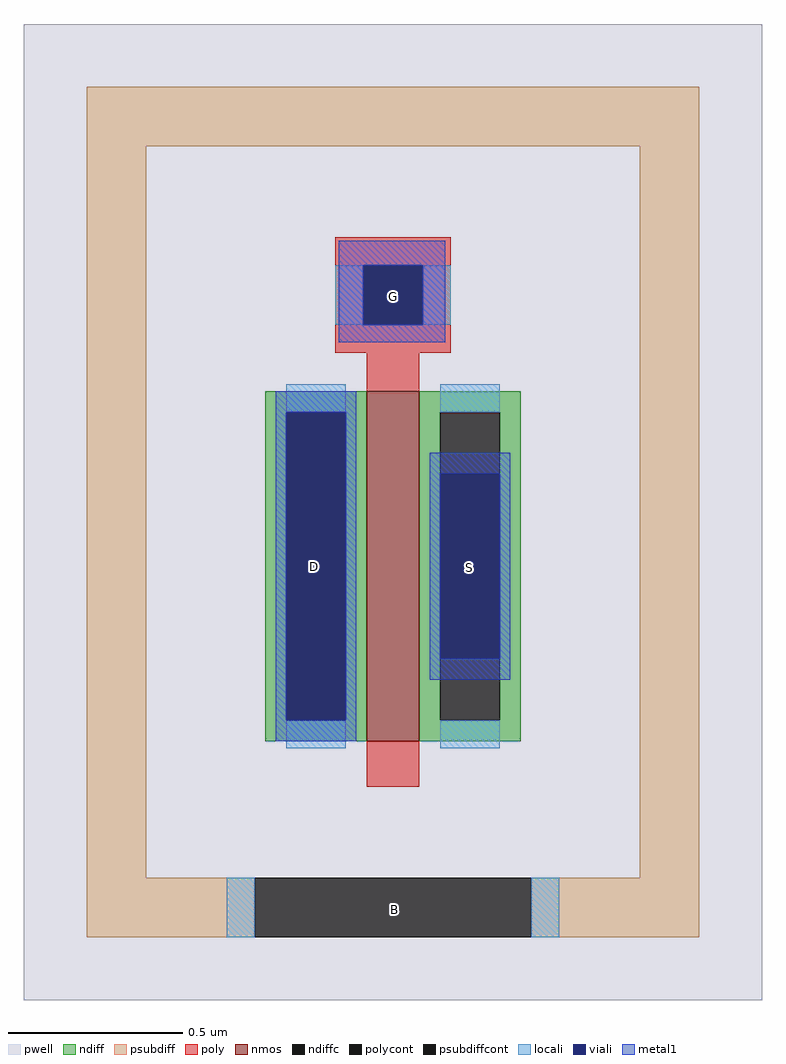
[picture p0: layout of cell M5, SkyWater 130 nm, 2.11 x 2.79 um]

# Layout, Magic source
magic
tech sky130B
magscale 1 2
<< pwell >>
rect -211 -279 211 279
<< nmos >>
rect -15 -131 15 69
<< ndiff >>
rect -73 57 -15 69
rect -73 -119 -61 57
rect -27 -119 -15 57
rect -73 -131 -15 -119
rect 15 57 73 69
rect 15 -119 27 57
rect 61 -119 73 57
rect 15 -131 73 -119
<< ndiffc >>
rect -61 -119 -27 57
rect 27 -119 61 57
<< psubdiff >>
rect -175 209 175 243
rect -175 -209 -141 209
rect 141 -209 175 209
rect -175 -243 -79 -209
rect 79 -243 175 -209
<< psubdiffcont >>
rect -79 -243 79 -209
<< poly >>
rect -33 141 33 157
rect -33 107 -17 141
rect 17 107 33 141
rect -33 91 33 107
rect -15 69 15 91
rect -15 -157 15 -131
<< polycont >>
rect -17 107 17 141
<< locali >>
rect -33 107 -17 141
rect 17 107 33 141
rect -61 57 -27 73
rect -61 -135 -27 -119
rect 27 57 61 73
rect 27 -135 61 -119
rect -95 -243 -79 -209
rect 79 -243 95 -209
<< viali >>
rect -17 107 17 141
rect -61 -119 -27 57
rect 27 -84 61 22
<< metal1 >>
rect -31 141 30 155
rect -31 107 -17 141
rect 17 107 30 141
rect -31 97 30 107
rect -67 57 -21 69
rect -67 -119 -61 57
rect -27 -119 -21 57
rect 21 22 67 34
rect 21 -84 27 22
rect 61 -84 67 22
rect 21 -96 67 -84
rect -67 -131 -21 -119
<< labels >>
flabel viali -45 -31 -45 -31 0 FreeSans 480 0 0 0 D
port 0 nsew
flabel viali 44 -32 44 -32 0 FreeSans 480 0 0 0 S
port 1 nsew
flabel viali 0 123 0 123 0 FreeSans 480 0 0 0 G
port 2 nsew
flabel psubdiffcont 1 -227 1 -227 0 FreeSans 480 0 0 0 B
port 3 nsew
<< properties >>
string FIXED_BBOX -158 -226 158 226
string gencell sky130_fd_pr__nfet_01v8
string library sky130
string parameters w 1 l 0.150 m 1 nf 1 diffcov 100 polycov 100 guard 1 glc 0 grc 0 gtc 0 gbc 1 tbcov 100 rlcov 100 topc 1 botc 0 poverlap 0 doverlap 1 lmin 0.15 wmin 0.42 compatible {sky130_fd_pr__nfet_01v8 sky130_fd_pr__nfet_01v8_lvt  sky130_fd_bs_flash__special_sonosfet_star  sky130_fd_pr__nfet_g5v0d10v5 sky130_fd_pr__nfet_05v0_nvt  sky130_fd_pr__nfet_03v3_nvt} full_metal 0 viasrc 60 viadrn 100 viagate 100 viagb 0 viagr 0 viagl 0 viagt 0
<< end >>
